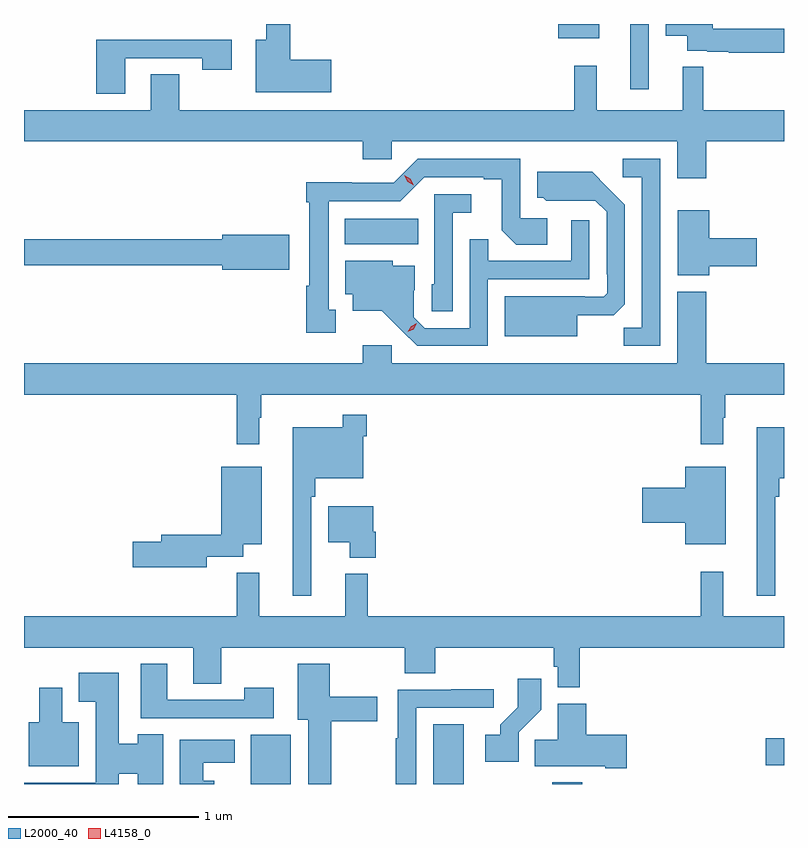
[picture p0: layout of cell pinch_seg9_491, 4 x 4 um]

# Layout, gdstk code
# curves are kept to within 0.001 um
import gdstk
lib = gdstk.Library(unit=1e-6, precision=1e-09)
def R(c, l, rs):  # rectangles x0, y0, x1, y1
    for r in rs: c.add(gdstk.rectangle(r[:2], r[2:], *l))
def P(c, l, *ps):  # polygons
    for p in ps: c.add(gdstk.Polygon(p, *l))
L2000_40 = (2000, 40)
L4158_0 = (4158, 0)

pinch_seg9_491 = lib.new_cell('pinch_seg9_491')
R(pinch_seg9_491, L2000_40, [(275.18,1186.378,275.392,1186.636), (276.14,1186.378,276.301,1186.693), (276.766,1186.378,276.926,1186.387), (277.89,1186.478,277.987,1186.62), (275.675,1189.22,276.062,1189.354), (277.178,1190.034,277.275,1190.378), (276.8,1190.303,277.015,1190.378)])
P(pinch_seg9_491, L2000_40, [(277.987,1190.354),(277.613,1190.354),(277.613,1190.378),(277.364,1190.378),(277.364,1190.315),(277.478,1190.315),(277.478,1190.238),(277.582,1190.238),(277.582,1190.232),(277.696,1190.232),(277.696,1190.226),(277.987,1190.226)],
  [(275.605,1190.189),(275.387,1190.189),(275.387,1190.378),(275.261,1190.378),(275.261,1190.296),(275.207,1190.296),(275.207,1190.018),(275.605,1190.018)],
  [(274.519,1190.199),(274.924,1190.199),(274.924,1190.136),(275.08,1190.136),(275.08,1190.295),(274.367,1190.295),(274.367,1190.01),(274.519,1190.01)],
  [(277.577,1189.76),(277.987,1189.76),(277.987,1189.924),(277.562,1189.924),(277.562,1190.153),(277.454,1190.153),(277.454,1189.924),(277.001,1189.924),(277.001,1190.158),(276.883,1190.158),(276.883,1189.924),(274.803,1189.924),(274.803,1190.114),(274.655,1190.114),(274.655,1189.924),(273.987,1189.924),(273.987,1189.76),(275.771,1189.76),(275.771,1189.667),(275.922,1189.667),(275.922,1189.76),(277.424,1189.76),(277.424,1189.566),(277.577,1189.566)],
  [(275.629,1188.873),(275.59,1188.873),(275.59,1189.446),(275.967,1189.446),(276.093,1189.572),(276.407,1189.572),(276.407,1189.56),(276.501,1189.56),(276.501,1189.292),(276.577,1189.216),(276.742,1189.216),(276.742,1189.356),(276.6,1189.356),(276.6,1189.668),(276.06,1189.668),(275.934,1189.542),(275.712,1189.542),(275.712,1189.544),(275.472,1189.544),(275.472,1189.439),(275.489,1189.439),(275.489,1189.001),(275.472,1189.001),(275.472,1188.753),(275.629,1188.753)],
  [(277.335,1189.668),(277.137,1189.668),(277.137,1189.572),(277.239,1189.572),(277.239,1188.779),(277.144,1188.779),(277.144,1188.684),(277.335,1188.684)],
  [(276.898,1188.845),(277.09,1188.845),(277.149,1188.904),(277.149,1189.426),(276.977,1189.6),(276.689,1189.6),(276.689,1189.464),(276.72,1189.464),(276.736,1189.448),(276.993,1189.449),(277.053,1189.389),(277.053,1189.06),(277.056,1189.06),(277.056,1188.96),(277.038,1188.942),(276.938,1188.942),(276.938,1188.946),(276.518,1188.946),(276.518,1188.734),(276.898,1188.734)],
  [(276.243,1189.385),(276.34,1189.385),(276.34,1189.482),(276.147,1189.482),(276.147,1189.008),(276.132,1189.008),(276.132,1188.865),(276.243,1188.865)],
  [(277.594,1189.103),(277.843,1189.103),(277.843,1189.25),(277.594,1189.25),(277.594,1189.399),(277.427,1189.399),(277.427,1189.055),(277.594,1189.055)],
  [(276.429,1189.035),(276.963,1189.035),(276.963,1189.345),(276.867,1189.345),(276.867,1189.131),(276.431,1189.131),(276.431,1189.244),(276.333,1189.244),(276.333,1188.777),(276.096,1188.777),(276.039,1188.834),(276.039,1188.976),(276.043,1188.976),(276.043,1189.105),(275.928,1189.105),(275.928,1189.132),(275.678,1189.132),(275.678,1188.956),(275.717,1188.956),(275.717,1188.869),(275.869,1188.869),(276.056,1188.684),(276.429,1188.684)],
  [(275.383,1189.268),(275.03,1189.268),(275.03,1189.244),(273.987,1189.244),(273.987,1189.108),(275.03,1189.108),(275.03,1189.085),(275.383,1189.085)],
  [(275.224,1188.305),(275.236,1188.305),(275.236,1188.428),(277.549,1188.428),(277.549,1188.165),(277.666,1188.165),(277.666,1188.305),(277.678,1188.305),(277.678,1188.428),(277.987,1188.428),(277.987,1188.592),(277.577,1188.592),(277.577,1188.97),(277.424,1188.97),(277.424,1188.592),(275.922,1188.592),(275.922,1188.688),(275.771,1188.688),(275.771,1188.592),(273.987,1188.592),(273.987,1188.428),(275.107,1188.428),(275.107,1188.165),(275.224,1188.165)],
  [(275.499,1187.891),(275.519,1187.891),(275.519,1187.987),(275.772,1187.987),(275.772,1188.209),(275.792,1188.209),(275.792,1188.322),(275.664,1188.322),(275.664,1188.256),(275.402,1188.256),(275.402,1187.37),(275.499,1187.37)],
  [(277.941,1187.891),(277.961,1187.891),(277.961,1187.987),(277.987,1187.987),(277.987,1188.256),(277.844,1188.256),(277.844,1187.37),(277.941,1187.37)],
  [(274.948,1187.574),(275.14,1187.574),(275.14,1187.639),(275.239,1187.639),(275.239,1188.049),(275.024,1188.049),(275.024,1187.69),(274.709,1187.69),(274.709,1187.654),(274.56,1187.654),(274.56,1187.519),(274.948,1187.519)],
  [(277.681,1188.049),(277.466,1188.049),(277.466,1187.936),(277.242,1187.936),(277.242,1187.753),(277.466,1187.753),(277.466,1187.639),(277.681,1187.639)],
  [(275.837,1187.706),(275.824,1187.706),(275.824,1187.839),(275.588,1187.839),(275.588,1187.651),(275.702,1187.651),(275.702,1187.57),(275.837,1187.57)],
  [(276.911,1187.096),(277.987,1187.096),(277.987,1187.26),(277.667,1187.26),(277.667,1187.494),(277.549,1187.494),(277.549,1187.26),(275.795,1187.26),(275.795,1187.485),(275.678,1187.485),(275.678,1187.26),(275.225,1187.26),(275.225,1187.489),(275.107,1187.489),(275.107,1187.26),(273.987,1187.26),(273.987,1187.096),(274.877,1187.096),(274.877,1186.906),(275.025,1186.906),(275.025,1187.096),(275.992,1187.096),(275.992,1186.96),(276.152,1186.96),(276.152,1187.096),(276.775,1187.096),(276.775,1186.995),(276.795,1186.995),(276.795,1186.886),(276.911,1186.886)],
  [(275.302,1186.885),(275.146,1186.885),(275.146,1186.821),(274.741,1186.821),(274.741,1187.011),(274.601,1187.011),(274.601,1186.725),(275.302,1186.725)],
  [(275.604,1186.708),(275.845,1186.708),(275.845,1186.837),(275.596,1186.837),(275.596,1187.011),(275.429,1187.011),(275.429,1186.715),(275.483,1186.715),(275.483,1186.378),(275.604,1186.378)],
  [(274.486,1186.433),(274.586,1186.433),(274.586,1186.378),(274.72,1186.378),(274.72,1186.64),(274.586,1186.64),(274.586,1186.591),(274.486,1186.591),(274.486,1186.963),(274.274,1186.963),(274.274,1186.811),(274.364,1186.811),(274.364,1186.384),(273.989,1186.384),(273.989,1186.378),(274.486,1186.378)],
  [(276.591,1186.651),(276.71,1186.77),(276.71,1186.933),(276.585,1186.933),(276.585,1186.781),(276.494,1186.691),(276.494,1186.636),(276.414,1186.636),(276.414,1186.496),(276.591,1186.496)],
  [(274.276,1186.702),(274.189,1186.702),(274.189,1186.885),(274.067,1186.885),(274.067,1186.702),(274.013,1186.702),(274.013,1186.472),(274.276,1186.472)],
  [(276.051,1186.779),(276.46,1186.779),(276.46,1186.878),(276.235,1186.878),(276.235,1186.875),(275.955,1186.875),(275.955,1186.619),(275.943,1186.619),(275.943,1186.378),(276.051,1186.378)],
  [(277.159,1186.638),(276.947,1186.638),(276.947,1186.801),(276.797,1186.801),(276.797,1186.61),(276.676,1186.61),(276.676,1186.472),(277.046,1186.472),(277.046,1186.46),(277.159,1186.46)],
  [(274.987,1186.396),(274.93,1186.396),(274.93,1186.49),(275.095,1186.49),(275.095,1186.612),(274.808,1186.612),(274.808,1186.378),(274.987,1186.378)])
P(pinch_seg9_491, L4158_0, [(276.006,1188.757),(276.006,1188.757),(276.024,1188.787),(276.055,1188.802),(276.055,1188.802),(276.055,1188.802),(276.037,1188.772),(276.007,1188.757)],
  [(276.037,1189.53),(276.006,1189.549),(275.988,1189.582),(275.988,1189.582),(275.989,1189.582),(276.02,1189.563),(276.037,1189.53),(276.037,1189.53)])

lib.write_gds('pinch_seg9_491.gds')
